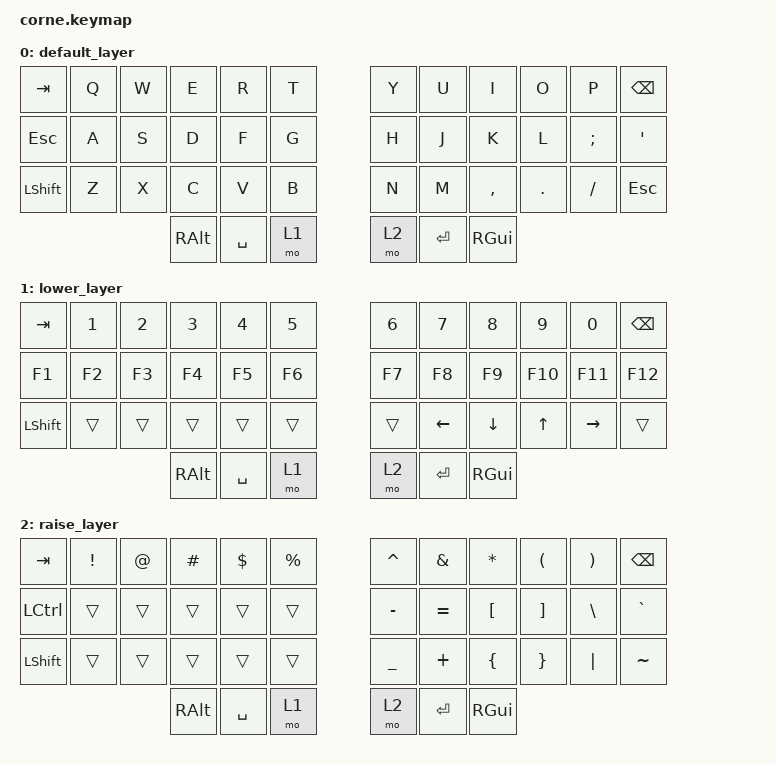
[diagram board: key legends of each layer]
/*
 * Copyright (c) 2020 The ZMK Contributors
 *
 * SPDX-License-Identifier: MIT
 */

#include <behaviors.dtsi>
#include <dt-bindings/zmk/keys.h>
#include <dt-bindings/zmk/bt.h>
                                                
/ {
        behaviors {
                hml: balanced_homerow_mods {
                        compatible = "zmk,behavior-hold-tap";
                        #binding-cells = <2>;
                        tapping-term-ms = <200>;
                        quick-tap-ms = <0>;
                        flavor = "balanced";
                        bindings = <&kp>, <&kp>;
                };
        };

        keymap {
                compatible = "zmk,keymap";

                default_layer {
// -----------------------------------------------------------------------------------------
// |  TAB |  Q  |  W  |  E  |  R  |  T  |   |  Y  |  U   |  I  |  O  |  P  | BSPC |
// | CTRL |  A  |  S  |  D  |  F  |  G  |   |  H  |  J   |  K  |  L  |  ;  |  '   |
// | SHFT |  Z  |  X  |  C  |  V  |  B  |   |  N  |  M   |  ,  |  .  |  /  | ESC  |
//        |     | GUI | LWR | SPC |     |   |     | ENT | RSE  | ALT |     |
                bindings = <
// ╭─────────────┬─────────────┬─────────────┬─────────────┬─────────────┬─────────────╮ ╭─────────────┬─────────────┬─────────────┬─────────────┬─────────────┬─────────────╮   
      &kp TAB        &kp Q        &kp W          &kp E         &kp R         &kp T           &kp Y         &kp U         &kp I         &kp O         &kp P        &kp BSPC
// ├─────────────┼─────────────┼─────────────┼─────────────┼─────────────┼─────────────┤ ├─────────────┼─────────────┼─────────────┼─────────────┼─────────────┼─────────────┤
      &kp ESC        &kp A         &kp S         &kp D          &kp F        &kp G           &kp H         &kp  J        &kp  K        &kp L         &kp SEMI     &kp SQT
// ├─────────────┼─────────────┼─────────────┼─────────────┼─────────────┼─────────────┤ ├─────────────┼─────────────┼─────────────┼─────────────┼─────────────┼─────────────┤
      &kp LSHFT      &kp Z        &kp X          &kp C         &kp V         &kp B           &kp N         &kp M       &kp COMMA     &kp DOT      &kp FSLH      &kp ESC
// ╰─────────────┼─────────────┴─────────────┴─────────────┴─────────────┴─────────────┤ ├─────────────┴─────────────┴─────────────┴─────────────┴─────────────┼─────────────╯
                                                &kp RALT     &kp SPACE       &mo 1           &mo 2        &kp RET      &kp RGUI       
//                                           ╰─────────────┴─────────────┴─────────────╯ ╰─────────────┴─────────────┴─────────────╯
                        >;
                };
                lower_layer {
// -----------------------------------------------------------------------------------------
// |  TAB |  1  |  2  |  3  |  4  |  5  |   |  6  |  7  |  8  |  9  |  0  | BSPC |
// | F1   | F2  | F3  | F4  | F5  | F6  |   | F7  | F8  |  F9 | F10 | F11 | F12  |
// | SHFT |     |     |     |     |     |   | LFT | DWN |  UP | RGT |     |      |
//        |     | GUI | LWR | SPC |     |   |     | ENT | RSE  | ALT |     |
                bindings = <
// ╭─────────────┬─────────────┬─────────────┬─────────────┬─────────────┬─────────────╮ ╭─────────────┬─────────────┬─────────────┬─────────────┬─────────────┬─────────────╮   
      &kp TAB        &kp N1       &kp N2         &kp N3        &kp N4        &kp N5          &kp N6        &kp N7        &kp N8        &kp N9        &kp N0       &kp BSPC
// ├─────────────┼─────────────┼─────────────┼─────────────┼─────────────┼─────────────┤ ├─────────────┼─────────────┼─────────────┼─────────────┼─────────────┼─────────────┤
      &kp F1         &kp F2       &kp F3         &kp F4        &kp F5        &kp F6          &kp F7        &kp F8        &kp F9        &kp F10       &kp F11       &kp F12
// ├─────────────┼─────────────┼─────────────┼─────────────┼─────────────┼─────────────┤ ├─────────────┼─────────────┼─────────────┼─────────────┼─────────────┼─────────────┤
      &kp LSHFT      &trans       &trans         &trans        &trans        &trans          &trans        &kp LEFT      &kp DOWN      &kp UP        &kp RIGHT     &trans
// ╰─────────────┼─────────────┴─────────────┴─────────────┴─────────────┴─────────────┤ ├─────────────┴─────────────┴─────────────┴─────────────┴─────────────┼─────────────╯
                                                &kp RALT     &kp SPACE       &mo 1           &mo 2        &kp RET      &kp RGUI       
//                                           ╰─────────────┴─────────────┴─────────────╯ ╰─────────────┴─────────────┴─────────────╯
                        >;
                };

                raise_layer {
// -----------------------------------------------------------------------------------------
// |  TAB |  !  |  @  |  #  |  $  |  %  |   |  ^  |  &  |  *  |  (  |  )  | BSPC |
// | CTRL |     |     |     |     |     |   |  -  |  =  |  [  |  ]  |  \  |  `   |
// | SHFT | <   |  >  |     |     |     |   |  _  |  +  |  {  |  }  | "|" |  ~   |
//        |     | GUI |     | SPC |     |   |     | ENT |     | ALT |     |
                bindings = <
// ╭─────────────┬─────────────┬─────────────┬─────────────┬─────────────┬─────────────╮ ╭─────────────┬─────────────┬─────────────┬─────────────┬─────────────┬─────────────╮   
      &kp TAB        &kp EXCL     &kp AT        &kp HASH      &kp DLLR     &kp PRCNT       &kp CARET      &kp AMPS     &kp ASTRK     &kp LPAR       &kp RPAR      &kp BSPC
// ├─────────────┼─────────────┼─────────────┼─────────────┼─────────────┼─────────────┤ ├─────────────┼─────────────┼─────────────┼─────────────┼─────────────┼─────────────┤
      &kp LCTRL      &trans       &trans        &trans        &trans         &trans         &kp MINUS     &kp EQUAL     &kp LBKT      &kp RBKT      &kp BSLH      &kp GRAVE
// ├─────────────┼─────────────┼─────────────┼─────────────┼─────────────┼─────────────┤ ├─────────────┼─────────────┼─────────────┼─────────────┼─────────────┼─────────────┤
      &kp LSHFT      &trans    &trans     &trans        &trans         &trans        &kp UNDER      &kp PLUS      &kp LBRC      &kp RBRC      &kp PIPE      &kp TILDE
// ╰─────────────┼─────────────┴─────────────┴─────────────┴─────────────┴─────────────┤ ├─────────────┴─────────────┴─────────────┴─────────────┴─────────────┼─────────────╯
                                                &kp RALT     &kp SPACE       &mo 1           &mo 2        &kp RET      &kp RGUI       
//                                           ╰─────────────┴─────────────┴─────────────╯ ╰─────────────┴─────────────┴─────────────╯
                        >;
                };
        };
};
